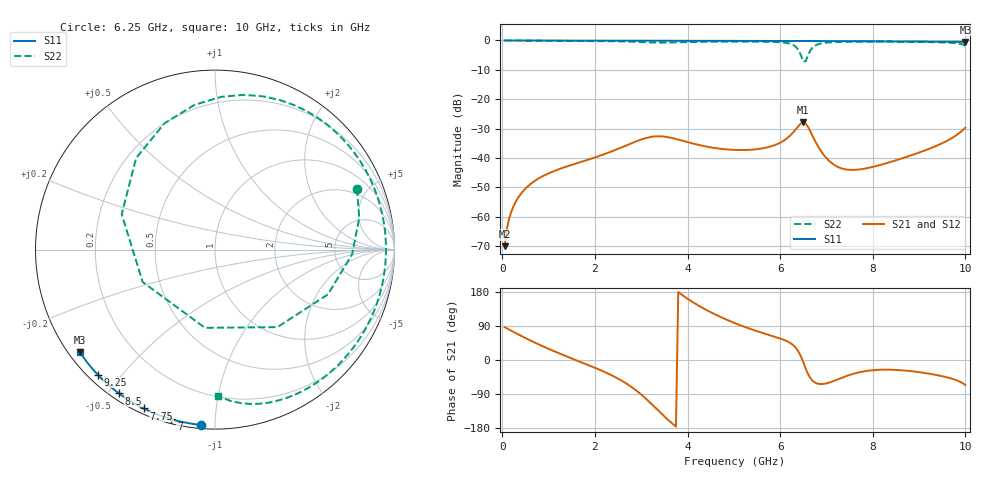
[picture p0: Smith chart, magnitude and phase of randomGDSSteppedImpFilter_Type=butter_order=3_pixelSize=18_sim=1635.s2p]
! freq	dB(S11)	phase(S11)	dB(S12)	phase(S12)
!  dB(S21)	phase(S21)	dB(S22)	phase(S22)
!S-par simulation data
#  GHz  S  DB  R 50
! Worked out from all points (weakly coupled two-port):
!   200 points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, 50 MHz to 10 GHz, reference 50 ohm
!   highest |S21| = -27.87 dB at 6.5 GHz (marker M1); lowest = -70.0 dB at 50 MHz (marker M2)
!   lowest |S11| = -0.5 dB at 10 GHz (marker M3), VSWR 35.22, Z = 1.58 - j16.9 ohm
!   |S11| at or under -10 dB: nowhere
!   |S22| runs from -7.1 to 0.0 dB; largest |S21 - S12| = 0
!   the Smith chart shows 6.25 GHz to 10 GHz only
!   S11 on the Smith chart (normalised r, x): 6.25 GHz: 0.02, -0.92; 7 GHz: 0.02, -0.78; 7.75 GHz: 0.02, -0.65; 8.5 GHz: 0.02, -0.53; 9.25 GHz: 0.03, -0.43; 10 GHz: 0.03, -0.34
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0.05  -0.00 -0.8  -69.96 86.6  -69.96 86.6  -0.00 -5.8
0.25  -0.01 -4.1  -56.12 73.6  -56.12 73.6  -0.04 -28.5
0.8  -0.02 -13.1  -46.79 40.3  -46.79 40.3  -0.10 -86.6
1.75  -0.04 -28.4  -41.07 -8.0  -41.07 -8.0  -0.17 -171.0
2.25  -0.05 -36.3  -38.41 -33.8  -38.41 -33.8  -0.23 143.9
2.75  -0.06 -44.1  -35.23 -67.9  -35.23 -67.9  -0.40 84.7
3.15  -0.07 -50.3  -33.00 -107.6  -33.00 -107.6  -0.66 14.3
3.4  -0.07 -54.0  -32.59 -137.2  -32.59 -137.2  -0.75 -38.8
3.7  -0.08 -58.5  -33.30 -170.8  -33.30 -170.8  -0.69 -97.2
4.1  -0.09 -64.4  -34.99 153.7  -34.99 153.7  -0.53 -153.8
5.05  -0.12 -78.1  -37.24 95.9  -37.24 95.9  -0.39 125.1
5.8  -0.15 -88.5  -36.03 64.6  -36.03 64.6  -0.48 73.1
6.25  -0.17 -94.5  -31.81 42.2  -31.81 42.2  -1.30 23.2
6.5  -0.19 -97.9  -27.87 -6.0  -27.87 -6.0  -7.14 -97.3
6.6  -0.20 -99.2  -29.37 -36.5  -29.37 -36.5  -5.10 159.2
6.7  -0.20 -100.5  -32.50 -54.7  -32.50 -54.7  -2.40 111.7
7  -0.21 -104.4  -40.02 -61.7  -40.02 -61.7  -0.74 61.2
7.75  -0.26 -114.1  -43.79 -31.4  -43.79 -31.4  -0.43 13.4
8.35  -0.31 -121.8  -41.49 -25.5  -41.49 -25.5  -0.43 -13.2
8.5  -0.33 -123.7  -40.76 -26.1  -40.76 -26.1  -0.44 -19.3
9.25  -0.40 -133.2  -36.65 -36.8  -36.65 -36.8  -0.57 -48.6
10  -0.49 -142.7  -29.66 -66.2  -29.66 -66.2  -1.76 -88.8
